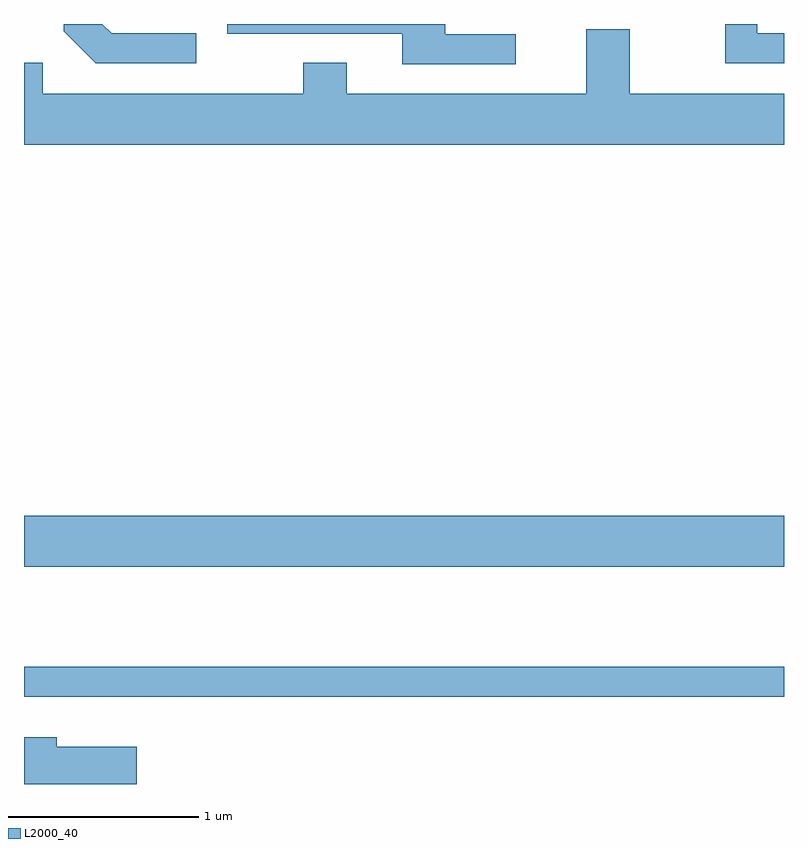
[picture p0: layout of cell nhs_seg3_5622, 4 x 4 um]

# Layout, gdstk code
import gdstk
lib = gdstk.Library(unit=1e-6, precision=1e-09)
def R(c, l, rs):  # rectangles x0, y0, x1, y1
    for r in rs: c.add(gdstk.rectangle(r[:2], r[2:], *l))
def P(c, l, *ps):  # polygons
    for p in ps: c.add(gdstk.Polygon(p, *l))
L2000_40 = (2000, 40)

nhs_seg3_5622 = lib.new_cell('nhs_seg3_5622')
R(nhs_seg3_5622, L2000_40, [(349.611,1216.351,353.611,1216.509), (349.611,1217.036,353.611,1217.304)])
P(nhs_seg3_5622, L2000_40, [(352.198,1219.839),(351.829,1219.839),(351.829,1219.892),(350.681,1219.892),(350.681,1219.841),(351.601,1219.841),(351.601,1219.681),(352.198,1219.681)],
  [(353.611,1219.844),(353.469,1219.844),(353.469,1219.892),(353.301,1219.892),(353.301,1219.686),(353.611,1219.686)],
  [(350.518,1219.844),(350.072,1219.844),(350.024,1219.892),(349.821,1219.892),(349.821,1219.854),(349.989,1219.686),(350.518,1219.686)],
  [(353.611,1219.524),(352.799,1219.524),(352.799,1219.864),(352.571,1219.864),(352.571,1219.524),(351.309,1219.524),(351.309,1219.689),(351.081,1219.689),(351.081,1219.524),(349.709,1219.524),(349.709,1219.689),(349.611,1219.689),(349.611,1219.256),(353.611,1219.256)],
  [(350.204,1216.089),(349.784,1216.089),(349.784,1216.139),(349.611,1216.139),(349.611,1215.892),(350.204,1215.892)])

lib.write_gds('nhs_seg3_5622.gds')
